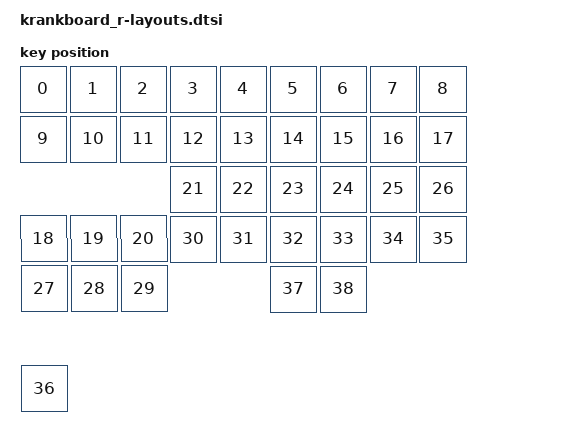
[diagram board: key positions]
#include <physical_layouts.dtsi>

/ {
    physical_layout0: physical_layout0{
        compatible = "zmk,physical-layout";
        display-name = "krankboard_r";
        transform = <&default_transform>;
        kscan = <&kscan0>;
        keys   //                 w   h    x    y     rot    rx    ry
           = <&key_physical_attrs 100 100    0    0       0     0     0>,
            <&key_physical_attrs 100 100  100    0       0     0     0>,
            <&key_physical_attrs 100 100  200    0       0     0     0>,
            <&key_physical_attrs 100 100  300    0       0     0     0>,
            <&key_physical_attrs 100 100  400    0       0     0     0>,
            <&key_physical_attrs 100 100  500    0       0     0     0>,
            <&key_physical_attrs 100 100  600    0       0     0     0>,
            <&key_physical_attrs 100 100  700    0       0     0     0>,
            <&key_physical_attrs 100 100  800    0       0     0     0>,


            <&key_physical_attrs 100 100    0    100       0     0     0>,
            <&key_physical_attrs 100 100  100    100       0     0     0>,
            <&key_physical_attrs 100 100  200    100       0     0     0>,
            <&key_physical_attrs 100 100  300    100       0     0     0>,
            <&key_physical_attrs 100 100  400    100       0     0     0>,
            <&key_physical_attrs 100 100  500    100       0     0     0>,
            <&key_physical_attrs 100 100  600    100       0     0     0>,
            <&key_physical_attrs 100 100  700    100       0     0     0>,
            <&key_physical_attrs 100 100  800    100       0     0     0>,


            <&key_physical_attrs 100 100    0    300       (-30) 0     0>,
            <&key_physical_attrs 100 100  100    300       (-30) 0     0>,
            <&key_physical_attrs 100 100  200    300       (-30) 0     0>,

            <&key_physical_attrs 100 100  300    200       0     0     0>,
            <&key_physical_attrs 100 100  400    200       0     0     0>,
            <&key_physical_attrs 100 100  500    200       0     0     0>,
            <&key_physical_attrs 100 100  600    200       0     0     0>,
            <&key_physical_attrs 100 100  700    200       0     0     0>,
            <&key_physical_attrs 100 100  800    200       0     0     0>,


            <&key_physical_attrs 100 100    0    400       (-30) 0     0>,
            <&key_physical_attrs 100 100  100    400       (-30) 0     0>,
            <&key_physical_attrs 100 100  200    400       (-30) 0     0>,

            <&key_physical_attrs 100 100  300    300       0     0     0>,
            <&key_physical_attrs 100 100  400    300       0     0     0>,
            <&key_physical_attrs 100 100  500    300       0     0     0>,
            <&key_physical_attrs 100 100  600    300       0     0     0>,
            <&key_physical_attrs 100 100  700    300       0     0     0>,
            <&key_physical_attrs 100 100  800    300       0     0     0>,


            <&key_physical_attrs 100 100  0      600       (-30) 0     0>,
            <&key_physical_attrs 100 100  500    400       0     0     0>,
            <&key_physical_attrs 100 100  600    400       0     0     0>;
    };

    krankboard_r_position_map {
        compatible = "zmk,physical-layout-position-map";
        complete;

        krankboard_r_map: krankboard_r {
            physical-layout = <&physical_layout0>;
            positions =
                <0  1  2  3  4  5  6  7  8>,
                <9  10 11 12 13 14 15 16 17>,
                <18 19 20 21 22 23 24 25 26>,
                <27 28 29 30 31 32 33 34 35>,
                <36             37 38      >;
        };
    };
};
